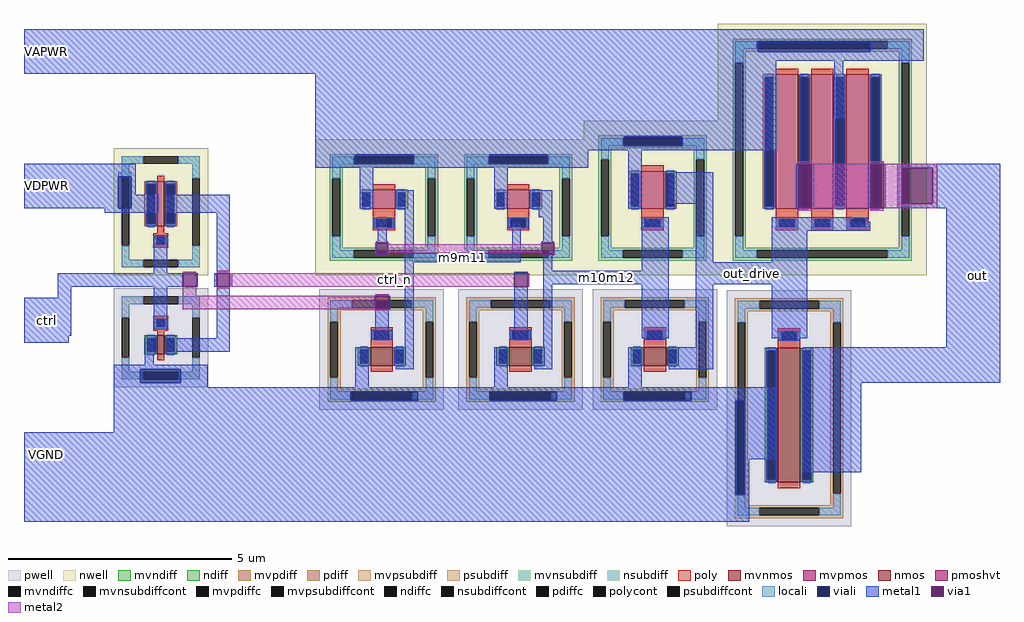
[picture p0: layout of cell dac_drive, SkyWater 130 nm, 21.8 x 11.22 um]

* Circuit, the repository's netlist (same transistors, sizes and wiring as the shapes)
** sch_path: /home/matt/work/asic-workshop/shuttle-tt08/tt08-analog-r2r-dac-3v3/xschem/dac_drive.sch
.subckt dac_drive VAPWR VDPWR ctrl out VGND
*.PININFO ctrl:I VGND:B VDPWR:B VAPWR:B out:O
XM8 ctrl_n ctrl VDPWR VDPWR sky130_fd_pr__pfet_01v8_hvt L=0.15 W=1 nf=1 m=1
XM7 ctrl_n ctrl VGND VGND sky130_fd_pr__nfet_01v8 L=0.15 W=0.42 nf=1 m=1
XM11 m9m11 m10m12 VAPWR VAPWR sky130_fd_pr__pfet_g5v0d10v5 L=0.5 W=0.42 nf=1 m=1
XM9 m9m11 ctrl VGND VGND sky130_fd_pr__nfet_g5v0d10v5 L=0.5 W=0.42 nf=1 m=1
XM10 m10m12 ctrl_n VGND VGND sky130_fd_pr__nfet_g5v0d10v5 L=0.5 W=0.42 nf=1 m=1
XM12 m10m12 m9m11 VAPWR VAPWR sky130_fd_pr__pfet_g5v0d10v5 L=0.5 W=0.42 nf=1 m=1
XM1 out_drive m10m12 VAPWR VAPWR sky130_fd_pr__pfet_g5v0d10v5 L=0.5 W=0.84 nf=1 m=1
XM2 out_drive m10m12 VGND VGND sky130_fd_pr__nfet_g5v0d10v5 L=0.5 W=0.42 nf=1 m=1
XM3 out out_drive VAPWR VAPWR sky130_fd_pr__pfet_g5v0d10v5 L=0.5 W=9 nf=3 m=1
XM4 out out_drive VGND VGND sky130_fd_pr__nfet_g5v0d10v5 L=0.5 W=3 nf=1 m=1
.ends
.end

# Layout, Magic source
magic
tech sky130A
magscale 1 2
<< locali >>
rect -2580 640 -2520 660
<< viali >>
rect 280 1200 780 1240
rect -320 780 -60 820
rect -1520 700 -1260 740
rect -920 700 -660 740
rect -2580 500 -2520 640
rect -2480 -280 -2300 -220
rect -1540 -360 -1240 -320
rect -920 -360 -620 -320
rect -320 -360 -20 -320
rect 180 -780 220 -360
<< metal1 >>
rect -3000 1240 1020 1300
rect -3000 1200 280 1240
rect 780 1200 1020 1240
rect -3000 1160 1020 1200
rect -3000 1100 360 1160
rect -1700 820 360 1100
rect 620 900 660 1160
rect -1700 780 -320 820
rect -60 780 360 820
rect -1700 760 360 780
rect -1700 740 -480 760
rect -1700 700 -1520 740
rect -1260 700 -920 740
rect -660 700 -480 740
rect -3000 640 -2500 700
rect -1700 680 -480 700
rect -3000 500 -2580 640
rect -2520 560 -2500 640
rect -2520 500 -2400 560
rect -2640 480 -2400 500
rect -2360 480 -2080 560
rect -1500 500 -1440 680
rect -1340 500 -1260 580
rect -900 500 -840 680
rect -740 500 -640 580
rect -300 500 -240 760
rect -120 520 80 660
rect -2420 210 -2360 380
rect -2140 210 -2080 480
rect -1420 352 -1380 460
rect -1426 346 -1374 352
rect -1426 288 -1374 294
rect -1300 300 -1260 500
rect -700 460 -640 500
rect -820 300 -780 440
rect -680 352 -640 460
rect -1300 260 -780 300
rect -686 346 -634 352
rect -686 288 -634 294
rect -2850 150 -2290 210
rect -2230 150 -2224 210
rect -2150 150 -2140 210
rect -2080 150 -2070 210
rect -2850 100 -2790 150
rect -3000 -70 -2790 100
rect -2420 -40 -2360 150
rect -3000 -100 -2800 -70
rect -2140 -80 -2080 150
rect -1436 50 -1430 110
rect -1370 50 -1364 110
rect -2460 -200 -2420 -80
rect -2360 -140 -2080 -80
rect -1430 -90 -1370 50
rect -1300 -120 -1260 260
rect -680 220 -640 288
rect -240 220 -120 460
rect -810 210 -750 216
rect -810 -90 -750 150
rect -680 160 -120 220
rect -680 -120 -640 160
rect -240 -80 -120 160
rect 0 260 80 520
rect 450 500 460 700
rect 520 500 530 700
rect 770 500 780 700
rect 840 500 850 700
rect 900 680 1360 700
rect 900 520 920 680
rect 1060 520 1360 680
rect 900 500 1360 520
rect 340 440 700 460
rect 340 400 780 440
rect 340 260 500 400
rect 0 160 500 260
rect 0 -120 80 160
rect 340 -80 500 160
rect 1120 -120 1360 500
rect -2600 -220 -2180 -200
rect -2600 -280 -2480 -220
rect -2300 -280 -2180 -220
rect -2600 -300 -2180 -280
rect -1520 -300 -1460 -120
rect -1340 -220 -1260 -120
rect -900 -300 -840 -120
rect -720 -220 -640 -120
rect -300 -300 -240 -120
rect -120 -220 80 -120
rect 480 -280 1360 -120
rect -2600 -320 360 -300
rect -2600 -360 -1540 -320
rect -1240 -360 -920 -320
rect -620 -360 -320 -320
rect -20 -360 360 -320
rect -2600 -500 180 -360
rect -3000 -780 180 -500
rect 220 -620 360 -360
rect 220 -780 240 -620
rect 480 -680 740 -280
rect -3000 -900 240 -780
<< via1 >>
rect -1426 294 -1374 346
rect -686 294 -634 346
rect -2290 150 -2230 210
rect -2140 150 -2080 210
rect -1430 50 -1370 110
rect -810 150 -750 210
rect 460 500 520 700
rect 780 500 840 700
rect 920 520 1060 680
<< metal2 >>
rect 460 700 520 710
rect 780 700 840 710
rect 520 500 780 700
rect 840 680 1080 700
rect 840 520 920 680
rect 1060 520 1080 680
rect 840 500 1080 520
rect 460 490 520 500
rect 780 490 840 500
rect -1432 294 -1426 346
rect -1374 340 -1368 346
rect -692 340 -686 346
rect -1374 300 -686 340
rect -1374 294 -1368 300
rect -692 294 -686 300
rect -634 294 -628 346
rect -2290 210 -2230 216
rect -2290 110 -2230 150
rect -2140 210 -2080 220
rect -2080 150 -810 210
rect -750 150 -744 210
rect -2140 140 -2080 150
rect -1430 110 -1370 116
rect -2290 50 -1430 110
rect -1430 44 -1370 50
use sky130_fd_pr__pfet_g5v0d10v5_77L6Y8  sky130_fd_pr__pfet_g5v0d10v5_77L6Y8_0
transform 1 0 566 0 -1 762
box -466 -562 466 562
use sky130_fd_pr__pfet_g5v0d10v5_RW5GT3  XM1
transform 1 0 -192 0 -1 546
box -308 -346 308 346
use sky130_fd_pr__nfet_g5v0d10v5_ZFATWT  XM2
transform -1 0 -182 0 1 -131
box -278 -269 278 269
use sky130_fd_pr__nfet_g5v0d10v5_42U4UV  XM4
transform 1 0 418 0 1 -393
box -278 -527 278 527
use sky130_fd_pr__nfet_01v8_L78EGD  XM7
transform 1 0 -2389 0 1 -79
box -211 -221 211 221
use sky130_fd_pr__pfet_01v8_hvt_MGS3BN  XM8
transform 1 0 -2389 0 -1 484
box -211 -284 211 284
use sky130_fd_pr__nfet_g5v0d10v5_ZFATWT  XM9
transform 1 0 -1402 0 1 -131
box -278 -269 278 269
use sky130_fd_pr__nfet_g5v0d10v5_ZFATWT  XM10
transform 1 0 -782 0 1 -131
box -278 -269 278 269
use sky130_fd_pr__pfet_g5v0d10v5_ZHZHT3  XM11
transform 1 0 -1392 0 -1 504
box -308 -304 308 304
use sky130_fd_pr__pfet_g5v0d10v5_ZHZHT3  XM12
transform 1 0 -792 0 -1 504
box -308 -304 308 304
<< labels >>
flabel metal2 -1880 150 -810 210 0 FreeSans 480 0 0 0 ctrl_n
flabel metal1 -680 160 -120 220 0 FreeSans 480 0 0 0 m10m12
flabel metal1 -1300 260 -780 300 0 FreeSans 480 0 0 0 m9m11
flabel metal1 0 160 500 260 0 FreeSans 480 0 0 0 out_drive
flabel metal1 -3000 -700 -2800 -500 0 FreeSans 256 0 0 0 VGND
port 4 nsew
flabel metal1 -3000 1100 -2800 1300 0 FreeSans 256 0 0 0 VAPWR
port 0 nsew
flabel metal1 -3000 500 -2800 700 0 FreeSans 256 0 0 0 VDPWR
port 1 nsew
flabel metal1 -3000 -100 -2800 100 0 FreeSans 256 0 0 0 ctrl
port 2 nsew
flabel metal1 1160 100 1360 300 0 FreeSans 256 0 0 0 out
port 3 nsew
<< end >>

# cell sky130_fd_pr__pfet_g5v0d10v5_77L6Y8: kit device sky130_fd_pr__pfet_g5v0d10v5, w 3.0 l 0.5 m 1 nf 3 diffcov 100 polycov 100 guard 1 glc 1 grc 1 gtc 1 gbc 1 tbcov 100 rlcov 100 topc 1 botc 0 poverlap 0 doverlap 1 lmin 0.50 wmin 0.42 compatible {sky130_fd_pr__pfet_01v8 sky130_fd_pr__pfet_01v8_lvt sky130_fd_pr__pfet_01v8_hvt sky130_fd_pr__pfet_g5v0d10v5} full_metal 1 viasrc 100 viadrn 100 viagate 100 viagb 0 viagr 0 viagl 0 viagt 0

# cell sky130_fd_pr__pfet_g5v0d10v5_RW5GT3: kit device sky130_fd_pr__pfet_g5v0d10v5, w 0.84 l 0.5 m 1 nf 1 diffcov 100 polycov 100 guard 1 glc 1 grc 1 gtc 1 gbc 1 tbcov 100 rlcov 100 topc 1 botc 0 poverlap 0 doverlap 1 lmin 0.50 wmin 0.42 compatible {sky130_fd_pr__pfet_01v8 sky130_fd_pr__pfet_01v8_lvt sky130_fd_pr__pfet_01v8_hvt sky130_fd_pr__pfet_g5v0d10v5} full_metal 1 viasrc 100 viadrn 100 viagate 100 viagb 0 viagr 0 viagl 0 viagt 0

# cell sky130_fd_pr__nfet_g5v0d10v5_ZFATWT: kit device sky130_fd_pr__nfet_g5v0d10v5, w 0.42 l 0.5 m 1 nf 1 diffcov 100 polycov 100 guard 1 glc 1 grc 1 gtc 1 gbc 1 tbcov 100 rlcov 100 topc 1 botc 0 poverlap 0 doverlap 1 lmin 0.50 wmin 0.42 compatible {sky130_fd_pr__nfet_01v8 sky130_fd_pr__nfet_01v8_lvt sky130_fd_bs_flash__special_sonosfet_star sky130_fd_pr__nfet_g5v0d10v5 sky130_fd_pr__nfet_05v0_nvt sky130_fd_pr__nfet_03v3_nvt} full_metal 1 viasrc 100 viadrn 100 viagate 100 viagb 0 viagr 0 viagl 0 viagt 0

# cell sky130_fd_pr__nfet_g5v0d10v5_42U4UV: kit device sky130_fd_pr__nfet_g5v0d10v5, w 3.0 l 0.5 m 1 nf 1 diffcov 100 polycov 100 guard 1 glc 1 grc 1 gtc 1 gbc 1 tbcov 100 rlcov 100 topc 1 botc 0 poverlap 0 doverlap 1 lmin 0.50 wmin 0.42 compatible {sky130_fd_pr__nfet_01v8 sky130_fd_pr__nfet_01v8_lvt sky130_fd_bs_flash__special_sonosfet_star sky130_fd_pr__nfet_g5v0d10v5 sky130_fd_pr__nfet_05v0_nvt sky130_fd_pr__nfet_03v3_nvt} full_metal 1 viasrc 100 viadrn 100 viagate 100 viagb 0 viagr 0 viagl 0 viagt 0

# cell sky130_fd_pr__nfet_01v8_L78EGD: kit device sky130_fd_pr__nfet_01v8, w 0.42 l 0.15 m 1 nf 1 diffcov 100 polycov 100 guard 1 glc 1 grc 1 gtc 1 gbc 1 tbcov 100 rlcov 100 topc 1 botc 0 poverlap 0 doverlap 1 lmin 0.15 wmin 0.42 compatible {sky130_fd_pr__nfet_01v8 sky130_fd_pr__nfet_01v8_lvt sky130_fd_bs_flash__special_sonosfet_star sky130_fd_pr__nfet_g5v0d10v5 sky130_fd_pr__nfet_05v0_nvt sky130_fd_pr__nfet_03v3_nvt} full_metal 1 viasrc 100 viadrn 100 viagate 100 viagb 0 viagr 0 viagl 0 viagt 0

# cell sky130_fd_pr__pfet_01v8_hvt_MGS3BN: kit device sky130_fd_pr__pfet_01v8_hvt, w 1.0 l 0.15 m 1 nf 1 diffcov 100 polycov 100 guard 1 glc 1 grc 1 gtc 1 gbc 1 tbcov 100 rlcov 100 topc 1 botc 0 poverlap 0 doverlap 1 lmin 0.15 wmin 0.42 compatible {sky130_fd_pr__pfet_01v8 sky130_fd_pr__pfet_01v8_lvt sky130_fd_pr__pfet_01v8_hvt sky130_fd_pr__pfet_g5v0d10v5} full_metal 1 viasrc 100 viadrn 100 viagate 100 viagb 0 viagr 0 viagl 0 viagt 0

# cell sky130_fd_pr__pfet_g5v0d10v5_ZHZHT3: kit device sky130_fd_pr__pfet_g5v0d10v5, w 0.42 l 0.5 m 1 nf 1 diffcov 100 polycov 100 guard 1 glc 1 grc 1 gtc 1 gbc 1 tbcov 100 rlcov 100 topc 1 botc 0 poverlap 0 doverlap 1 lmin 0.50 wmin 0.42 compatible {sky130_fd_pr__pfet_01v8 sky130_fd_pr__pfet_01v8_lvt sky130_fd_pr__pfet_01v8_hvt sky130_fd_pr__pfet_g5v0d10v5} full_metal 1 viasrc 100 viadrn 100 viagate 100 viagb 0 viagr 0 viagl 0 viagt 0
